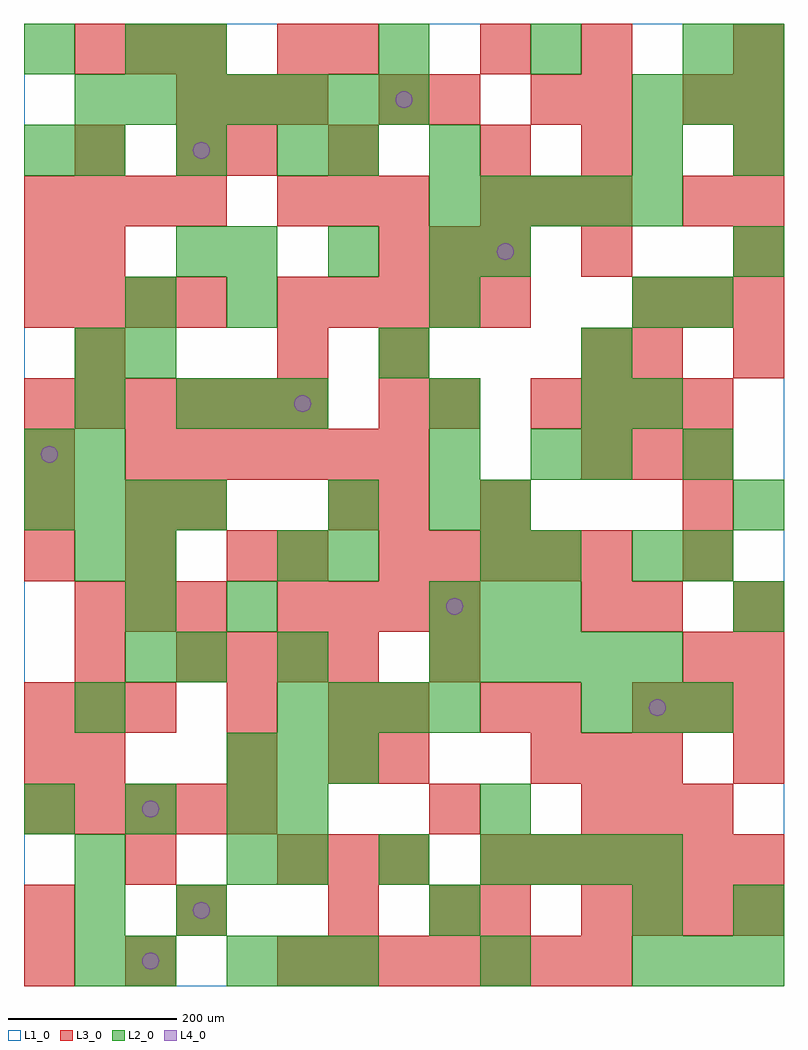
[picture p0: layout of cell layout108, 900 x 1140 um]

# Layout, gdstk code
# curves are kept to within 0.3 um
import gdstk
lib = gdstk.Library(unit=1e-6, precision=1e-09)
def R(c, l, rs):  # rectangles x0, y0, x1, y1
    for r in rs: c.add(gdstk.rectangle(r[:2], r[2:], *l))
def A(c, l, x, y, w, h, nx, ny, dx, dy):  # array of equal rectangles
    R(c, l, [(x+i*dx, y+j*dy, x+i*dx+w, y+j*dy+h) for i in range(nx) for j in range(ny)])
def P(c, l, *ps):  # polygons
    for p in ps: c.add(gdstk.Polygon(p, *l))
L1_0 = (1, 0)
L2_0 = (2, 0)
L3_0 = (3, 0)
L4_0 = (4, 0)

layout108 = lib.new_cell('layout108')
R(layout108, L1_0, [(0,0,900,1140)])
A(layout108, L2_0, 60, 0, 60, 60, 1, 3, 0, 60)
A(layout108, L2_0, 240, 0, 60, 60, 3, 2, 60, 240)
A(layout108, L2_0, 720, 0, 60, 60, 3, 2, 60, 1020)
A(layout108, L2_0, 300, 120, 60, 60, 3, 1, 120, 0)
A(layout108, L2_0, 600, 120, 60, 60, 3, 1, 60, 0)
A(layout108, L2_0, 0, 180, 60, 60, 3, 1, 120, 0)
A(layout108, L2_0, 300, 300, 60, 60, 4, 1, 60, 0)
A(layout108, L2_0, 660, 300, 60, 60, 3, 1, 60, 0)
A(layout108, L2_0, 120, 360, 60, 60, 1, 3, 0, 60)
A(layout108, L2_0, 480, 360, 60, 60, 5, 2, 60, 540)
A(layout108, L2_0, 480, 420, 60, 60, 3, 1, 60, 0)
A(layout108, L2_0, 0, 540, 60, 60, 4, 1, 60, 0)
A(layout108, L2_0, 480, 540, 60, 60, 1, 3, 0, 60)
A(layout108, L2_0, 60, 600, 60, 60, 1, 3, 0, 60)
A(layout108, L2_0, 660, 600, 60, 60, 1, 3, 0, 60)
A(layout108, L2_0, 180, 660, 60, 60, 3, 1, 60, 0)
A(layout108, L2_0, 240, 780, 60, 60, 3, 1, 240, 0)
A(layout108, L2_0, 240, 840, 60, 60, 3, 1, 120, 0)
A(layout108, L2_0, 840, 840, 60, 60, 1, 3, 0, 120)
A(layout108, L2_0, 60, 960, 60, 60, 3, 1, 120, 0)
A(layout108, L2_0, 60, 1020, 60, 60, 7, 1, 60, 0)
A(layout108, L2_0, 420, 1080, 60, 60, 3, 1, 180, 0)
R(layout108, L2_0, [(120,0,180,60), (540,0,600,60), (180,60,240,120), (480,60,540,120), (720,60,780,120), (840,60,900,120), (240,120,300,180), (300,180,360,240), (540,180,600,240), (60,300,120,360), (180,360,240,420), (300,360,360,420), (240,420,300,480), (840,420,900,480), (60,480,120,540), (300,480,360,540), (360,480,420,540), (540,480,600,540), (600,480,660,540), (720,480,780,540), (780,480,840,540), (360,540,420,600), (540,540,600,600), (840,540,900,600), (0,600,60,660), (600,600,660,660), (780,600,840,660), (720,660,780,720), (120,720,180,780), (420,720,480,780), (120,780,180,840), (780,780,840,840), (180,840,240,900), (540,840,600,900), (0,960,60,1020), (360,960,420,1020), (480,960,540,1020), (720,960,780,1020), (0,1080,60,1140), (120,1080,180,1140), (180,1080,240,1140)])
A(layout108, L3_0, 300, 0, 60, 60, 7, 1, 60, 0)
A(layout108, L3_0, 0, 60, 60, 60, 3, 1, 180, 0)
A(layout108, L3_0, 540, 60, 60, 60, 1, 3, 0, 240)
A(layout108, L3_0, 660, 60, 60, 60, 4, 1, 60, 0)
A(layout108, L3_0, 300, 120, 60, 60, 3, 2, 60, 780)
A(layout108, L3_0, 540, 120, 60, 60, 6, 1, 60, 0)
A(layout108, L3_0, 0, 180, 60, 60, 5, 1, 60, 0)
A(layout108, L3_0, 660, 180, 60, 60, 3, 2, 60, 420)
A(layout108, L3_0, 600, 240, 60, 60, 3, 1, 60, 0)
A(layout108, L3_0, 0, 300, 60, 60, 3, 1, 60, 0)
A(layout108, L3_0, 720, 300, 60, 60, 3, 2, 60, 480)
A(layout108, L3_0, 180, 360, 60, 60, 4, 1, 60, 0)
A(layout108, L3_0, 60, 420, 60, 60, 3, 2, 60, 660)
A(layout108, L3_0, 300, 420, 60, 60, 4, 1, 60, 0)
A(layout108, L3_0, 0, 480, 60, 60, 3, 1, 120, 0)
A(layout108, L3_0, 420, 480, 60, 60, 5, 1, 60, 0)
A(layout108, L3_0, 120, 600, 60, 60, 6, 1, 60, 0)
A(layout108, L3_0, 0, 660, 60, 60, 6, 1, 60, 0)
A(layout108, L3_0, 600, 660, 60, 60, 4, 1, 60, 0)
A(layout108, L3_0, 60, 720, 60, 60, 1, 3, 0, 120)
A(layout108, L3_0, 660, 720, 60, 60, 1, 3, 0, 120)
A(layout108, L3_0, 0, 780, 60, 60, 4, 2, 60, 120)
A(layout108, L3_0, 300, 780, 60, 60, 5, 1, 60, 0)
A(layout108, L3_0, 420, 840, 60, 60, 3, 1, 60, 0)
A(layout108, L3_0, 840, 840, 60, 60, 1, 5, 0, 60)
A(layout108, L3_0, 540, 900, 60, 60, 3, 1, 60, 0)
A(layout108, L3_0, 180, 1020, 60, 60, 3, 1, 60, 0)
R(layout108, L3_0, [(0,0,60,60), (120,0,180,60), (480,60,540,120), (120,120,180,180), (480,180,540,240), (0,240,60,300), (60,240,120,300), (240,240,300,300), (360,240,420,300), (420,240,480,300), (840,240,900,300), (240,300,300,360), (360,300,420,360), (420,300,480,360), (600,300,660,360), (60,360,120,420), (480,360,540,420), (780,360,840,420), (840,360,900,420), (660,420,720,480), (720,420,780,480), (840,420,900,480), (300,480,360,540), (780,480,840,540), (0,540,60,600), (120,540,180,600), (180,540,240,600), (360,540,420,600), (420,540,480,600), (780,540,840,600), (0,600,60,660), (420,660,480,720), (480,660,540,720), (300,720,360,780), (420,720,480,780), (720,720,780,780), (840,720,900,780), (0,840,60,900), (780,900,840,960), (180,960,240,1020), (240,960,300,1020), (360,960,420,1020), (540,960,600,1020), (420,1020,480,1080), (480,1020,540,1080), (600,1020,660,1080), (660,1020,720,1080), (780,1020,840,1080), (300,1080,360,1140), (360,1080,420,1140), (540,1080,600,1140), (660,1080,720,1140)])
P(layout108, L4_0, [(40,630),(39.239,633.827),(37.071,637.071),(33.827,639.239),(30,640),(26.173,639.239),(22.929,637.071),(20.761,633.827),(20,630),(20.761,626.173),(22.929,622.929),(26.173,620.761),(30,620),(33.827,620.761),(37.071,622.929),(39.239,626.173)],
  [(160,30),(159.239,33.827),(157.071,37.071),(153.827,39.239),(150,40),(146.173,39.239),(142.929,37.071),(140.761,33.827),(140,30),(140.761,26.173),(142.929,22.929),(146.173,20.761),(150,20),(153.827,20.761),(157.071,22.929),(159.239,26.173)],
  [(160,210),(159.239,213.827),(157.071,217.071),(153.827,219.239),(150,220),(146.173,219.239),(142.929,217.071),(140.761,213.827),(140,210),(140.761,206.173),(142.929,202.929),(146.173,200.761),(150,200),(153.827,200.761),(157.071,202.929),(159.239,206.173)],
  [(220,90),(219.239,93.827),(217.071,97.071),(213.827,99.239),(210,100),(206.173,99.239),(202.929,97.071),(200.761,93.827),(200,90),(200.761,86.173),(202.929,82.929),(206.173,80.761),(210,80),(213.827,80.761),(217.071,82.929),(219.239,86.173)],
  [(220,990),(219.239,993.827),(217.071,997.071),(213.827,999.239),(210,1000),(206.173,999.239),(202.929,997.071),(200.761,993.827),(200,990),(200.761,986.173),(202.929,982.929),(206.173,980.761),(210,980),(213.827,980.761),(217.071,982.929),(219.239,986.173)],
  [(340,690),(339.239,693.827),(337.071,697.071),(333.827,699.239),(330,700),(326.173,699.239),(322.929,697.071),(320.761,693.827),(320,690),(320.761,686.173),(322.929,682.929),(326.173,680.761),(330,680),(333.827,680.761),(337.071,682.929),(339.239,686.173)],
  [(460,1050),(459.239,1053.827),(457.071,1057.071),(453.827,1059.239),(450,1060),(446.173,1059.239),(442.929,1057.071),(440.761,1053.827),(440,1050),(440.761,1046.173),(442.929,1042.929),(446.173,1040.761),(450,1040),(453.827,1040.761),(457.071,1042.929),(459.239,1046.173)],
  [(520,450),(519.239,453.827),(517.071,457.071),(513.827,459.239),(510,460),(506.173,459.239),(502.929,457.071),(500.761,453.827),(500,450),(500.761,446.173),(502.929,442.929),(506.173,440.761),(510,440),(513.827,440.761),(517.071,442.929),(519.239,446.173)],
  [(580,870),(579.239,873.827),(577.071,877.071),(573.827,879.239),(570,880),(566.173,879.239),(562.929,877.071),(560.761,873.827),(560,870),(560.761,866.173),(562.929,862.929),(566.173,860.761),(570,860),(573.827,860.761),(577.071,862.929),(579.239,866.173)],
  [(760,330),(759.239,333.827),(757.071,337.071),(753.827,339.239),(750,340),(746.173,339.239),(742.929,337.071),(740.761,333.827),(740,330),(740.761,326.173),(742.929,322.929),(746.173,320.761),(750,320),(753.827,320.761),(757.071,322.929),(759.239,326.173)])

lib.write_gds('layout108.gds')
